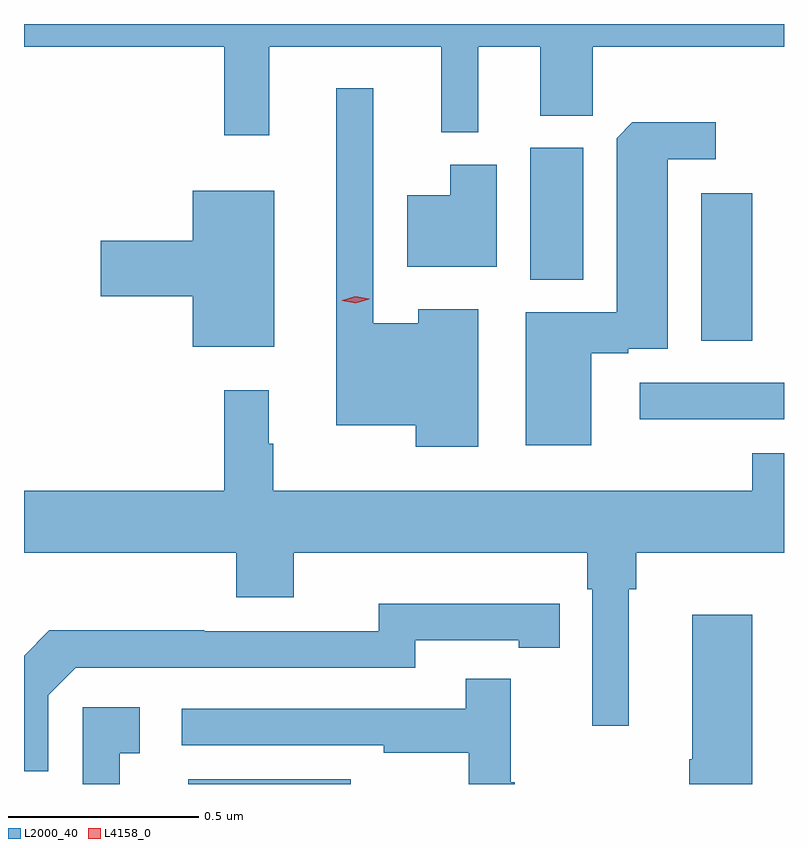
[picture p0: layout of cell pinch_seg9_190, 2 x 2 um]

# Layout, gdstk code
import gdstk
lib = gdstk.Library(unit=1e-6, precision=1e-09)
def R(c, l, rs):  # rectangles x0, y0, x1, y1
    for r in rs: c.add(gdstk.rectangle(r[:2], r[2:], *l))
def P(c, l, *ps):  # polygons
    for p in ps: c.add(gdstk.Polygon(p, *l))
L2000_40 = (2000, 40)
L4158_0 = (4158, 0)

pinch_seg9_190 = lib.new_cell('pinch_seg9_190')
R(pinch_seg9_190, L2000_40, [(881.96,1246.428,882.388,1246.441), (883.149,1247.388,883.528,1247.484), (883.31,1247.594,883.444,1247.983), (882.86,1247.755,883,1248.102)])
P(pinch_seg9_190, L2000_40, [(882.173,1248.368),(882.626,1248.368),(882.626,1248.143),(882.724,1248.143),(882.724,1248.368),(882.887,1248.368),(882.887,1248.187),(883.025,1248.187),(883.025,1248.368),(883.528,1248.368),(883.528,1248.428),(881.528,1248.428),(881.528,1248.368),(882.055,1248.368),(882.055,1248.135),(882.173,1248.135)],
  [(882.724,1247.677),(882.566,1247.677),(882.566,1247.641),(882.447,1247.641),(882.447,1248.259),(882.35,1248.259),(882.35,1247.372),(882.559,1247.372),(882.559,1247.315),(882.724,1247.315)],
  [(883.021,1247.562),(883.118,1247.562),(883.118,1247.574),(883.222,1247.574),(883.222,1248.072),(883.348,1248.072),(883.348,1248.17),(883.129,1248.17),(883.088,1248.128),(883.088,1247.67),(882.848,1247.67),(882.848,1247.319),(883.021,1247.319)],
  [(882.772,1248.058),(882.65,1248.058),(882.65,1247.977),(882.536,1247.977),(882.536,1247.789),(882.772,1247.789)],
  [(882.187,1247.989),(881.972,1247.989),(881.972,1247.858),(881.73,1247.858),(881.73,1247.711),(881.972,1247.711),(881.972,1247.579),(882.187,1247.579)],
  [(883.12,1246.94),(883.139,1246.94),(883.139,1247.036),(883.528,1247.036),(883.528,1247.299),(883.444,1247.299),(883.444,1247.2),(882.184,1247.2),(882.184,1247.324),(882.172,1247.324),(882.172,1247.464),(882.055,1247.464),(882.055,1247.2),(881.528,1247.2),(881.528,1247.036),(882.086,1247.036),(882.086,1246.919),(882.238,1246.919),(882.238,1247.036),(883.01,1247.036),(883.01,1246.94),(883.023,1246.94),(883.023,1246.581),(883.12,1246.581)],
  [(881.592,1246.662),(881.664,1246.734),(882.558,1246.734),(882.558,1246.806),(882.83,1246.806),(882.83,1246.786),(882.938,1246.786),(882.938,1246.902),(882.83,1246.902),(882.83,1246.903),(882.462,1246.903),(882.462,1246.83),(882.002,1246.83),(882.002,1246.832),(881.594,1246.832),(881.528,1246.766),(881.528,1246.461),(881.592,1246.461)],
  [(883.445,1246.873),(883.286,1246.873),(883.286,1246.493),(883.279,1246.493),(883.279,1246.428),(883.445,1246.428)],
  [(882.82,1246.433),(882.809,1246.433),(882.809,1246.705),(882.691,1246.705),(882.691,1246.626),(881.943,1246.626),(881.943,1246.53),(882.475,1246.53),(882.475,1246.51),(882.699,1246.51),(882.699,1246.428),(882.82,1246.428)],
  [(881.78,1246.509),(881.833,1246.509),(881.833,1246.63),(881.682,1246.63),(881.682,1246.428),(881.78,1246.428)])
P(pinch_seg9_190, L4158_0, [(882.401,1247.693),(882.365,1247.7),(882.365,1247.7),(882.365,1247.701),(882.4,1247.712),(882.436,1247.705),(882.436,1247.705),(882.436,1247.704)])

lib.write_gds('pinch_seg9_190.gds')
